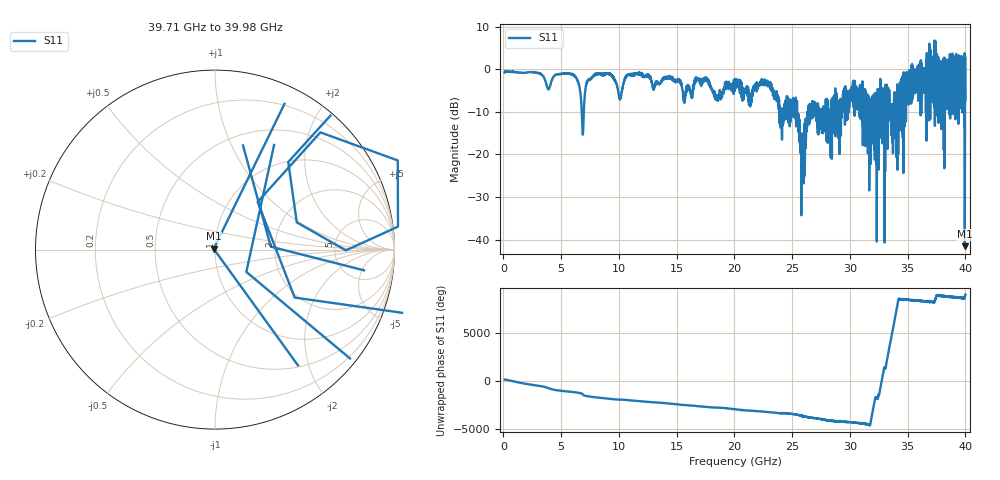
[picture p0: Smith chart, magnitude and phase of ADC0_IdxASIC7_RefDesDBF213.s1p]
! ADC = 0
! IdxASIC = 7
! RefDesDBF = 213
# Hz S DB R 50
! freq  S11(dB)  S11(deg)
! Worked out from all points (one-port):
!   3991 points, 100 MHz to 40 GHz, reference 50 ohm
!   lowest |S11| = -41.6 dB at 39.95 GHz (marker M1), VSWR 1.02, Z = 49.3 + j0.423 ohm
!   |S11| at or under -10 dB: 6.784 GHz to 6.96 GHz (175.9 MHz wide, 2.56 % of centre); 25.43 GHz to 26.3 GHz (867.5 MHz wide, 3.35 % of centre); 27.3 GHz to 27.46 GHz (153.9 MHz wide, 0.562 % of centre)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
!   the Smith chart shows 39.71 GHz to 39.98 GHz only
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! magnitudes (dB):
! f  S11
! 100 MHz  -0.7
! 3.9 GHz  -4.7
! 5.09 GHz  -1.0
! 6.32 GHz  -2.1
! 6.85 GHz  -14.7
! 7.27 GHz  -2.9
! 7.99 GHz  -1.3
! 10.08 GHz  -7.1
! 10.84 GHz  -1.2
! 15.07 GHz  -2.6
! 15.66 GHz  -7.7
! 16.77 GHz  -2.3
! 18.52 GHz  -6.5
! 20.05 GHz  -2.7
! 21.39 GHz  -7.0
! 22.9 GHz  -3.8
! 24.07 GHz  -12.8
! 25.04 GHz  -8.0
! 25.45 GHz  -12.3
! 25.87 GHz  -17.5
! 26.7 GHz  -8.9
! 28.26 GHz  -10.7
! 30.03 GHz  -7.4
! 33.62 GHz  -12.7
! 35.02 GHz  -4.8
! 37.26 GHz  -2.9
! 39.95 GHz  -41.6
! 40 GHz  -7.3
